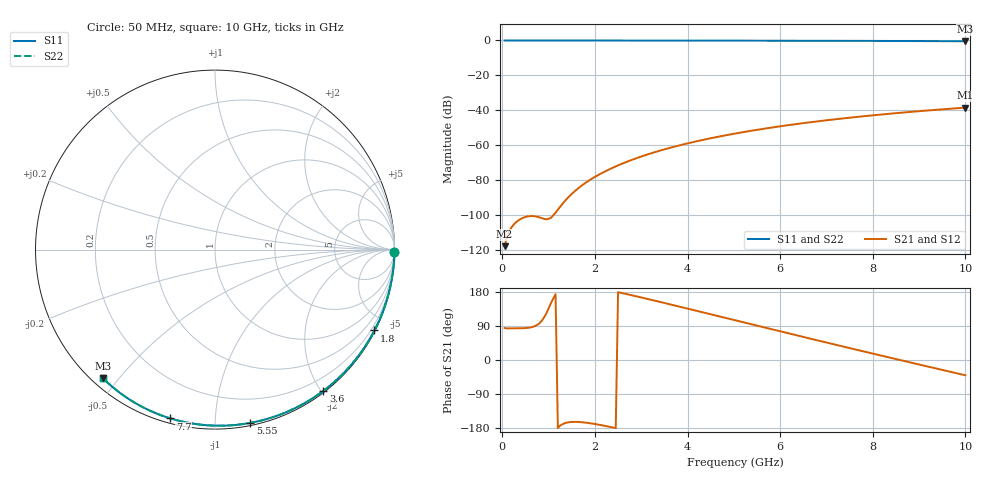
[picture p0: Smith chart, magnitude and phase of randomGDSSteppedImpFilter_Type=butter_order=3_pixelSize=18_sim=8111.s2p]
! freq	dB(S11)	phase(S11)	dB(S12)	phase(S12)
!  dB(S21)	phase(S21)	dB(S22)	phase(S22)
!S-par simulation data
#  GHz  S  DB  R 50
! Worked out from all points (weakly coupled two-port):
!   200 points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, 50 MHz to 10 GHz, reference 50 ohm
!   highest |S21| = -38.44 dB at 10 GHz (marker M1); lowest = -117.7 dB at 50 MHz (marker M2)
!   lowest |S11| = -0.4 dB at 10 GHz (marker M3), VSWR 39.19, Z = 1.54 - j22.7 ohm
!   |S11| at or under -10 dB: nowhere
!   |S22| runs from -0.4 to 0.0 dB; largest |S21 - S12| = 0
!   S11 on the Smith chart (normalised r, x): 50 MHz: open; 1.8 GHz: 0.04, -4.19; 3.6 GHz: 0.02, -2.03; 5.55 GHz: 0.02, -1.22; 7.7 GHz: 0.02, -0.77; 10 GHz: 0.03, -0.45
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0.05  -0.00 -0.8  -117.73 84.4  -117.73 84.4  -0.00 -0.8
0.9  -0.02 -13.6  -102.10 112.1  -102.10 112.1  -0.02 -13.6
1.75  -0.03 -26.1  -82.37 -164.6  -82.37 -164.6  -0.03 -26.1
1.8  -0.03 -26.9  -81.44 -165.3  -81.44 -165.3  -0.03 -26.9
1.85  -0.04 -27.6  -80.55 -166.1  -80.55 -166.1  -0.04 -27.6
1.9  -0.04 -28.3  -79.69 -166.9  -79.69 -166.9  -0.04 -28.3
2.05  -0.04 -30.5  -77.32 -170.0  -77.32 -170.0  -0.04 -30.5
2.25  -0.04 -33.4  -74.52 -174.6  -74.52 -174.6  -0.04 -33.4
2.45  -0.05 -36.3  -72.05 -179.7  -72.05 -179.7  -0.05 -36.3
2.65  -0.05 -39.2  -69.83 174.9  -69.83 174.9  -0.05 -39.2
3  -0.06 -44.1  -66.43 165.1  -66.43 165.1  -0.06 -44.1
3.4  -0.07 -49.8  -63.09 153.5  -63.09 153.5  -0.07 -49.8
3.6  -0.07 -52.5  -61.60 147.6  -61.60 147.6  -0.07 -52.5
4.3  -0.09 -62.1  -57.09 126.7  -57.09 126.7  -0.09 -62.1
5.05  -0.11 -72.0  -53.16 104.1  -53.16 104.1  -0.11 -72.0
5.55  -0.13 -78.5  -50.93 89.2  -50.93 89.2  -0.13 -78.5
6.1  -0.15 -85.4  -48.75 72.7  -48.75 72.7  -0.15 -85.4
6.7  -0.18 -92.8  -46.64 54.9  -46.64 54.9  -0.18 -92.8
7.7  -0.24 -104.8  -43.65 25.6  -43.65 25.6  -0.24 -104.8
8.35  -0.29 -112.4  -41.97 6.8  -41.97 6.8  -0.29 -112.4
9.15  -0.36 -121.5  -40.14 -16.2  -40.14 -16.2  -0.36 -121.5
10  -0.44 -131.1  -38.44 -40.4  -38.44 -40.4  -0.44 -131.1
